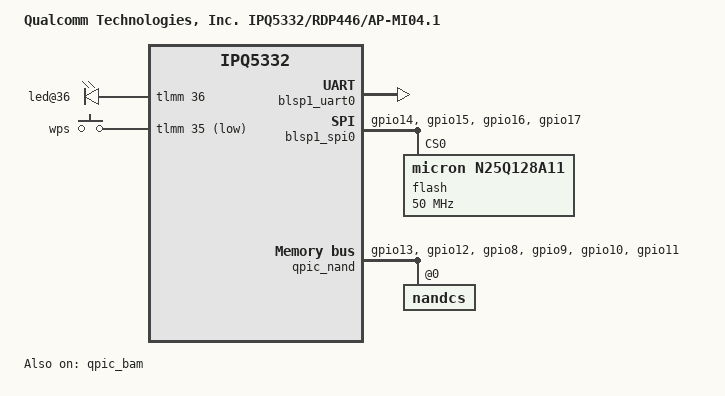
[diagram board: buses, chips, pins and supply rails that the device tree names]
// SPDX-License-Identifier: (GPL-2.0+ OR BSD-3-Clause)
/*
 * IPQ5332 RDP446 board device tree source
 *
 * Copyright (c) 2020-2021 The Linux Foundation. All rights reserved.
 * Copyright (c) 2022-2023 Qualcomm Innovation Center, Inc. All rights reserved.
 */

/dts-v1/;

#include "ipq5332.dtsi"
#include <dt-bindings/gpio/gpio.h>
#include <dt-bindings/input/input.h>

/ {
	model = "Qualcomm Technologies, Inc. IPQ5332/RDP446/AP-MI04.1";
	compatible = "qcom,ipq5332-ap-mi04.1","qcom,ipq5332-rdp446", "qcom,ipq5332";

	aliases {
		serial0 = &blsp1_uart0;
	};

	chosen {
		stdout-path = "serial0";
	};

	soc@0 {
		leds {
			compatible = "gpio-leds";
			pinctrl-0 = <&leds_pins>;
			pinctrl-names = "default";
			led@36 {
				gpios = <&tlmm 36 GPIO_ACTIVE_HIGH>;
				linux,default-trigger = "led_2g";
				default-state = "off";
			};
		};

		gpio_keys {
			compatible = "gpio-keys";
			pinctrl-0 = <&button_pins>;
			pinctrl-names = "default";
			status = "okay";

			button@1 {
				label = "wps";
				linux,code = <KEY_WPS_BUTTON>;
				gpios = <&tlmm 35 GPIO_ACTIVE_LOW>;
				linux,input-type = <1>;
				debounce-interval = <60>;
			};
		};
	};
};

&blsp1_uart0 {
	pinctrl-0 = <&serial_0_pins>;
	pinctrl-names = "default";
	status = "okay";
};

&blsp1_spi0 {
	pinctrl-0 = <&spi_0_data_clk_pins &spi_0_cs_pins>;
	pinctrl-names = "default";
	status = "okay";

	flash@0 {
		compatible = "micron,n25q128a11", "jedec,spi-nor";
		reg = <0>;
		#address-cells = <1>;
		#size-cells = <1>;
		spi-max-frequency = <50000000>;
	};
};

&sleep_clk {
	clock-frequency = <32000>;
};

&xo_board {
	clock-frequency = <24000000>;
};

&qpic_bam {
	status = "okay";
};

&qpic_nand {
	pinctrl-0 = <&qspi_default_state>;
	pinctrl-names = "default";
	status = "okay";

	nandcs@0 {
		reg = <0>;
		#address-cells = <1>;
		#size-cells = <1>;

		nand-ecc-strength = <8>;
		nand-ecc-step-size = <512>;
		nand-bus-width = <8>;
	};
};

&tlmm {
	qspi_default_state: qspi-default-state {
		qspi_clock {
			pins = "gpio13";
			function = "qspi_clk";
			drive-strength = <8>;
			bias-pull-down;
		};

		qspi_cs {
			pins = "gpio12";
			function = "qspi_cs";
			drive-strength = <8>;
			bias-pull-up;
		};

		qspi_data {
			pins = "gpio8", "gpio9", "gpio10", "gpio11";
			function = "qspi_data";
			drive-strength = <8>;
			bias-pull-down;
		};
	};

	leds_pins: leds-state {
		pins = "gpio36";
		function = "gpio";
		drive-strength = <8>;
		bias-pull-down;
	};

	button_pins: button-state {
		pins = "gpio35";
		function = "gpio";
		drive-strength = <8>;
		bias-pull-up;
	};

	spi_0_data_clk_pins: spi-0-data-clk-state {
		pins = "gpio14", "gpio15", "gpio16";
		function = "blsp0_spi";
		drive-strength = <2>;
		bias-pull-down;
	};

	spi_0_cs_pins: spi-0-cs-state {
		pins = "gpio17";
		function = "blsp0_spi";
		drive-strength = <2>;
		bias-pull-up;
	};
};
